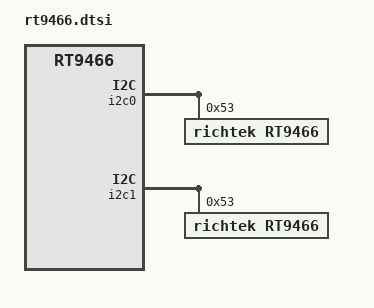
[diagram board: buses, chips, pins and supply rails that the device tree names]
/* Please set primary/secondary charger to corresponding I2C bus */
&i2c0 {
	rt9466@53 {
		compatible = "richtek,rt9466";
		reg = <0x53>;
		rt,ceb_gpio_num = <160>;
		rt,intr_gpio_num = <173>; /* direct defined GPIO num */
		status = "okay";
		/*
		 * Charger name
		 * Main charger: primary_chg
		 * Slave charger: secondary_chg
		 */
		charger_name = "secondary_chg";
		ichg = <2000000>; /* uA */
		aicr = <500000>;  /* uA */
		mivr = <4400000>; /* uV */
		cv = <4350000>;   /* uV */
		ieoc = <250000>;  /* uA */
		safety_timer = <12>;  /* hour */
		ircmp_resistor = <80000>; /* uohm */
		ircmp_vclamp = <224000>;  /* uV */
		enable_te;
		/* enable_wdt; */
		ceb_invert;
	};
};

&i2c1 {
	rt9466@53 {
		compatible = "richtek,rt9466";
		reg = <0x53>;
		/* rt,ceb_gpio_num = <160>; */
		rt,intr_gpio_num = <101>; /* direct defined GPIO num */
		status = "okay";
		/*
		 * Charger name
		 * Main charger: primary_chg
		 * Slave charger: secondary_chg
		 */
		charger_name = "primary_chg";
		ichg = <2000000>; /* uA */
		aicr = <500000>;  /* uA */
		mivr = <4400000>; /* uV */
		cv = <4350000>;   /* uV */
		ieoc = <250000>;  /* uA */
		safety_timer = <12>;  /* hour */
		ircmp_resistor = <80000>; /* uohm */
		ircmp_vclamp = <224000>;  /* uV */
		enable_te;
		/* enable_wdt; */
		/* ceb_invert; */
	};
};
